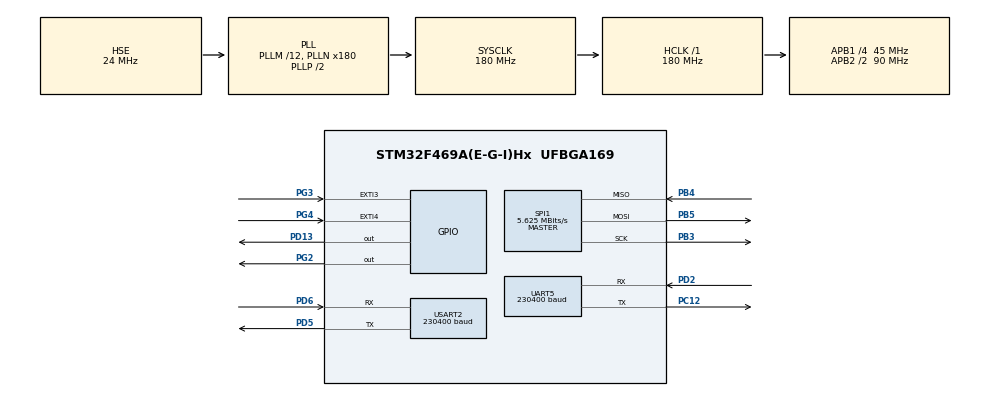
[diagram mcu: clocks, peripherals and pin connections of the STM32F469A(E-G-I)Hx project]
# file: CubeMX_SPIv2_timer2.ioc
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Dma.Request0=USART2_RX
Dma.USART2_RX.0.Direction=DMA_PERIPH_TO_MEMORY
Dma.USART2_RX.0.FIFOMode=DMA_FIFOMODE_DISABLE
Dma.USART2_RX.0.Instance=DMA1_Stream5
Dma.USART2_RX.0.MemDataAlignment=DMA_MDATAALIGN_BYTE
Dma.USART2_RX.0.MemInc=DMA_MINC_ENABLE
Dma.USART2_RX.0.Mode=DMA_CIRCULAR
Dma.USART2_RX.0.PeriphDataAlignment=DMA_PDATAALIGN_BYTE
Dma.USART2_RX.0.PeriphInc=DMA_PINC_DISABLE
Dma.USART2_RX.0.Priority=DMA_PRIORITY_LOW
Mcu.Family=STM32F4
Mcu.Name=STM32F469A(E-G-I)Hx
Mcu.Package=UFBGA169
NVIC.DMA1_Stream5_IRQn=true\:0\:0\:false\:false\:true\:false\:true\:true
NVIC.EXTI3_IRQn=true\:0\:0\:false\:false\:true\:true\:true\:true
NVIC.EXTI4_IRQn=true\:0\:0\:false\:false\:true\:true\:true\:true
NVIC.PriorityGroup=NVIC_PRIORITYGROUP_4
NVIC.TIM2_IRQn=true\:0\:0\:false\:false\:true\:true\:true\:true
NVIC.USART2_IRQn=true\:0\:0\:false\:false\:true\:true\:true\:true
PA13.Mode=Serial_Wire
PA13.Signal=SYS_JTMS-SWDIO
PA14.Mode=Serial_Wire
PA14.Signal=SYS_JTCK-SWCLK
PB3.Mode=Full_Duplex_Master
PB3.Signal=SPI1_SCK
PB4.Mode=Full_Duplex_Master
PB4.Signal=SPI1_MISO
PB5.Mode=Full_Duplex_Master
PB5.Signal=SPI1_MOSI
PC12.Mode=Asynchronous
PC12.Signal=UART5_TX
PC14/OSC32_IN.Mode=LSE-External-Oscillator
PC14/OSC32_IN.Signal=RCC_OSC32_IN
PC15/OSC32_OUT.Mode=LSE-External-Oscillator
PC15/OSC32_OUT.Signal=RCC_OSC32_OUT
PD13.Signal=GPIO_Output
PD2.Mode=Asynchronous
PD2.Signal=UART5_RX
PD5.Mode=Asynchronous
PD5.Signal=USART2_TX
PD6.Mode=Asynchronous
PD6.Signal=USART2_RX
PG2.PinState=GPIO_PIN_SET
PG2.Signal=GPIO_Output
PG3.Signal=GPXTI3
PG4.Signal=GPXTI4
PH0/OSC_IN.Mode=HSE-External-Oscillator
PH0/OSC_IN.Signal=RCC_OSC_IN
PH1/OSC_OUT.Mode=HSE-External-Oscillator
PH1/OSC_OUT.Signal=RCC_OSC_OUT
ProjectManager.HeapSize=0x800
ProjectManager.StackSize=0x800
ProjectManager.TargetToolchain=STM32CubeIDE
RCC.AHBFreq_Value=180000000
RCC.APB1CLKDivider=RCC_HCLK_DIV4
RCC.APB1Freq_Value=45000000
RCC.APB1TimFreq_Value=90000000
RCC.APB2CLKDivider=RCC_HCLK_DIV2
RCC.APB2Freq_Value=90000000
RCC.APB2TimFreq_Value=180000000
RCC.CortexFreq_Value=180000000
RCC.HCLKFreq_Value=180000000
RCC.HSE_VALUE=24000000
RCC.PLLM=12
RCC.PLLN=180
RCC.PLLSourceVirtual=RCC_PLLSOURCE_HSE
RCC.SYSCLKFreq_VALUE=180000000
RCC.SYSCLKSource=RCC_SYSCLKSOURCE_PLLCLK
RCC.USBFreq_Value=90000000
RCC.VCOOutputFreq_Value=360000000
SPI1.BaudRatePrescaler=SPI_BAUDRATEPRESCALER_16
SPI1.CalculateBaudRate=5.625 MBits/s
SPI1.Direction=SPI_DIRECTION_2LINES
SPI1.Mode=SPI_MODE_MASTER
SPI1.VirtualType=VM_MASTER
STMicroelectronics.X-CUBE-AI.7.3.0.ActivationBufferSizeList=64
STMicroelectronics.X-CUBE-AI.7.3.0.ActivationBuffers=NULL
STMicroelectronics.X-CUBE-AI.7.3.0.HeapSize=0x800
STMicroelectronics.X-CUBE-AI.7.3.0.InternalRamActivationBufferMaxSize=AI_NETWORK_DATA_ACTIVATIONS_SIZE
STMicroelectronics.X-CUBE-AI.7.3.0.LatestDirectoryUsed-288e2ee30f7139069f7e9c3ec8d494eeb7988f74bf6846b82fc9e8d1f985ffc4=C\:\\Users\\giaco\\Downloads
STMicroelectronics.X-CUBE-AI.7.3.0.MaximumNumberOfInputLayer=1
STMicroelectronics.X-CUBE-AI.7.3.0.MaximumNumberOfOutputLayer=1
STMicroelectronics.X-CUBE-AI.7.3.0.ModelActualCompression-288e2ee30f7139069f7e9c3ec8d494eeb7988f74bf6846b82fc9e8d1f985ffc4=0.0
STMicroelectronics.X-CUBE-AI.7.3.0.ModelCompression-288e2ee30f7139069f7e9c3ec8d494eeb7988f74bf6846b82fc9e8d1f985ffc4=None
STMicroelectronics.X-CUBE-AI.7.3.0.ModelFlashOccupation-288e2ee30f7139069f7e9c3ec8d494eeb7988f74bf6846b82fc9e8d1f985ffc4=324
STMicroelectronics.X-CUBE-AI.7.3.0.ModelHashList=288e2ee30f7139069f7e9c3ec8d494eeb7988f74bf6846b82fc9e8d1f985ffc4
STMicroelectronics.X-CUBE-AI.7.3.0.ModelKind-288e2ee30f7139069f7e9c3ec8d494eeb7988f74bf6846b82fc9e8d1f985ffc4=KERAS
STMicroelectronics.X-CUBE-AI.7.3.0.ModelMacc-288e2ee30f7139069f7e9c3ec8d494eeb7988f74bf6846b82fc9e8d1f985ffc4=101
STMicroelectronics.X-CUBE-AI.7.3.0.ModelName-288e2ee30f7139069f7e9c3ec8d494eeb7988f74bf6846b82fc9e8d1f985ffc4=network
STMicroelectronics.X-CUBE-AI.7.3.0.ModelNameList=network
STMicroelectronics.X-CUBE-AI.7.3.0.ModelRamOccupation-288e2ee30f7139069f7e9c3ec8d494eeb7988f74bf6846b82fc9e8d1f985ffc4=64
STMicroelectronics.X-CUBE-AI.7.3.0.ModelStructureFile-288e2ee30f7139069f7e9c3ec8d494eeb7988f74bf6846b82fc9e8d1f985ffc4=C\:\\Users\\giaco\\Downloads\\modello_asc (2).h5
STMicroelectronics.X-CUBE-AI.7.3.0.ModelType-288e2ee30f7139069f7e9c3ec8d494eeb7988f74bf6846b82fc9e8d1f985ffc4=Saved model
STMicroelectronics.X-CUBE-AI.7.3.0.ReadyForCodeGeneration=true
STMicroelectronics.X-CUBE-AI.7.3.0.StackSize=0x800
STMicroelectronics.X-CUBE-AI.7.3.0.WorkingBufferStartAddrList=0xFFFFFFFF
STMicroelectronics.X-CUBE-AI.7.3.0.XAaCUBEAaAICcArtificialOoIntelligenceJjCore=true
STMicroelectronics.X-CUBE-AI.7.3.0.copyWeightToRam-288e2ee30f7139069f7e9c3ec8d494eeb7988f74bf6846b82fc9e8d1f985ffc4=false
STMicroelectronics.X-CUBE-AI.7.3.0.customLayerConfigEnabled-288e2ee30f7139069f7e9c3ec8d494eeb7988f74bf6846b82fc9e8d1f985ffc4=false
STMicroelectronics.X-CUBE-AI.7.3.0.useInputAllocation-288e2ee30f7139069f7e9c3ec8d494eeb7988f74bf6846b82fc9e8d1f985ffc4=true
STMicroelectronics.X-CUBE-AI.7.3.0.useOutputAllocation-288e2ee30f7139069f7e9c3ec8d494eeb7988f74bf6846b82fc9e8d1f985ffc4=true
STMicroelectronics.X-CUBE-ALGOBUILD.1.3.0.LibraryCcDSPOoLibraryJjDSPOoLibrary=true
STMicroelectronics.X-CUBE-ALGOBUILD.1.3.0.LibraryCcMotionOoLibrariesJjMotionOoLibraries=true
TIM2.Period=1000-1
TIM2.Prescaler=24000-1
UART5.BaudRate=230400
UART5.VirtualMode=Asynchronous
USART2.BaudRate=230400
USART2.Parity=PARITY_NONE
USART2.VirtualMode=VM_ASYNC
VP_CRC_VS_CRC.Mode=CRC_Activate
VP_STMicroelectronics.X-CUBE-AI_VS_ArtificialOoIntelligenceJjXAaCUBEAaAI_7.3.0_7.3.0.Mode=ArtificialOoIntelligenceJjXAaCUBEAaAI
VP_STMicroelectronics.X-CUBE-ALGOBUILD_VS_DSPOoLibraryJjLibrary_1.3.0_1.3.0.Mode=DSPOoLibraryJjLibrary
VP_STMicroelectronics.X-CUBE-ALGOBUILD_VS_MotionOoLibrariesJjLibrary_1.3.0_1.3.0.Mode=MotionOoLibrariesJjLibrary
VP_TIM2_VS_ClockSourceINT.Mode=Internal
board=custom

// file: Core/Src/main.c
/* USER CODE BEGIN Header */
/**
  ******************************************************************************
  * @file           : main.c
  * @brief          : Main program body
  ******************************************************************************
  * @attention
  *
  * Copyright (c) 2023 STMicroelectronics.
  * All rights reserved.
  *
  * This software is licensed under terms that can be found in the LICENSE file
  * in the root directory of this software component.
  * If no LICENSE file comes with this software, it is provided AS-IS.
  *
  ******************************************************************************
  */
/* USER CODE END Header */
#include "main.h"
#include "crc.h"
#include "dma.h"
#include "spi.h"
#include "tim.h"
#include "usart.h"
#include "gpio.h"
#define ARM_MATH_CM4
#include "arm_math.h"
#include "network.h"
#include "network_config.h"
#include "network_data.h"
#include "network_data_params.h"
#include "ai_datatypes_defines.h"
#include "ai_platform.h"

/* Include arm_math.h mathematic functions */

/* USER CODE BEGIN PD */

#define DIM 8000
#define SAMPLES  512
#define FFT_SIZE (SAMPLES/2)
#define Fs  20000
#define passo_f  (Fs/2)/(FFT_SIZE);
#define ARM_MATH_CM4

/* USER CODE END PD */

/* USER CODE BEGIN PV */

float32_t fft_in_buf_realX [SAMPLES];
float32_t fft_in_buf_realY [SAMPLES];
float32_t fft_in_buf_realZ [SAMPLES];
float32_t tempX[FFT_SIZE];
float32_t tempY[FFT_SIZE];
float32_t tempZ[FFT_SIZE];
float32_t fft_out_buf_realX[FFT_SIZE];
float32_t fft_out_buf_realY[FFT_SIZE];
float32_t fft_out_buf_realZ[FFT_SIZE];
arm_rfft_fast_instance_f32 fft_handler;
arm_cfft_radix4_instance_f32 fft_handler_cplx;
float32_t massimo;
float32_t valMassimiX[10];
float32_t indX[10];
float32_t valMassimiY[10];
float32_t indY[10];
float32_t valMassimiZ[10];
float32_t indZ[10];
int indmax;
char  buffer_out[100];
uint8_t spiSndX[1];			//Buffer di trasmissione X MSB
uint8_t spiSndY[1];			//Buffer di trasmissione Y MSB
uint8_t spiSndZ[1];			//Buffer di trasmissione Z MSB
uint8_t spiSndXLSB[1];		//Buffer di trasmissione X LSB
uint8_t spiSndYLSB[1];		//Buffer di trasmissione Y LSB
uint8_t spiSndZLSB[1];		//Buffer di trasmissione Z LSB
uint8_t spiRcv[2];			//Buffer di ricezione LSB
uint8_t spiRcvMSB[2];		//Buffer di ricezione MSB
uint8_t spiSnd[2];			//Buffer invio comandi SPI
uint16_t buffer[50]={0};	//Buffer usato per UART5
uint16_t buffer2[300];
uint16_t buffer3[300];
uint8_t a;
float Vettx[DIM];
float Vetty[DIM];
float Vettz[DIM];
volatile uint8_t flag_elapsed = 0;
ai_buffer *ai_input;
ai_buffer *ai_output;

void uprintf(char* str){
	HAL_UART_Transmit(&huart5, (uint8_t*)str, strlen(str), 100);
}

/* USER CODE END PV */

void SystemClock_Config(void);

int main(void)
{
  /* USER CODE BEGIN 1 */

		spiSndX[0]=0x29|0x80;
	    spiSndY[0]=0x2B|0x80;
		spiSndZ[0]=0x2D|0x80;
		spiSndXLSB[0]=0x28|0x80;
		spiSndYLSB[0]=0x2A|0x80;
		spiSndZLSB[0]=0x2C|0x80;
		uint16_t x[DIM];
		uint16_t y[DIM];
		uint16_t z[DIM];
		int16_t k=0;
		float acc;
		float typ=0.488;
		int i=0;

  /* USER CODE END 1 */

  /* MCU Configuration--------------------------------------------------------*/

  /* Reset of all peripherals, Initializes the Flash interface and the Systick. */
  HAL_Init();

  /* Configure the system clock */
  SystemClock_Config();

  /* Initialize all configured peripherals */
  MX_GPIO_Init();
  MX_DMA_Init();
  MX_SPI1_Init();
  MX_USART2_UART_Init();
  MX_UART5_Init();
  MX_TIM2_Init();
  MX_CRC_Init();
  /* USER CODE BEGIN 2 */

  HAL_UART_MspInit(&huart5);
  HAL_GPIO_WritePin(GPIOG, GPIO_PIN_2, GPIO_PIN_RESET);
  spiSnd[0]=0x10;
  spiSnd[1]=0xA4;
  HAL_SPI_Transmit(&hspi1, spiSnd, 2, 100);
  HAL_GPIO_WritePin(GPIOG, GPIO_PIN_2, GPIO_PIN_SET);
  HAL_TIM_Base_Start(&htim2);

  /* USER CODE END 2 */

  /* Infinite loop */
  /* USER CODE BEGIN WHILE */
  while (i<DIM)
   {
 	 if((flag_elapsed=1))											//La funzione di interrupt abilita il flag per ogni n conteggi selezionati
 	 {
 		 flag_elapsed=0;										//flag=0 in modo che non rientro ma aspetto che sia l'interrupt ad alzarlo

 		//Asse X
 		HAL_GPIO_WritePin(GPIOG, GPIO_PIN_2, GPIO_PIN_RESET);	//Abilito SPI1
 		HAL_SPI_Transmit(&hspi1, spiSndX, 1, 100);				//Trasmetto Indirizzo dove leggere istruzione
 		HAL_SPI_Receive(&hspi1, &spiRcv[0], 1, 100);			//Ricevo Risultato di misura MSB (8bit)
 		HAL_GPIO_WritePin(GPIOG, GPIO_PIN_2, GPIO_PIN_SET);		//Chiudo la comunicazione SPI1
 		HAL_GPIO_WritePin(GPIOG, GPIO_PIN_2, GPIO_PIN_RESET);	//Abilito la comunicazione SPI1 (NON POSSO FARE PIU OPERAZIONI CON UN'UNICA ATTIVAZIONE)
 		HAL_SPI_Transmit(&hspi1, spiSndXLSB, 1, 100);			//Trasmetto Indirizzo dove leggere istruzione
 		HAL_SPI_Receive(&hspi1, &spiRcv[1], 1, 100);			//Ricevo Risultato di misura LSB (8bit)
 		x[i]=((int16_t)spiRcv[0] << 8) | spiRcv[1];				//Unisco MSB e LSB attraverso un'operazione di shift su 16bit
 		HAL_GPIO_WritePin(GPIOG, GPIO_PIN_2, GPIO_PIN_SET);		//Chiudo la comunicazione SPI1
 		k=(int16_t)x[i];										//Casting da uint a int (abilitazione del segno, complemento)
 		acc=(k*typ)/1000;										//Da datasheet, il dato letto, lo converto in scala g attraverso questo calcolo
 		Vettx[i]=acc;											//Aggiungo la misura al vettore delle letture
 		//HAL_UART_Transmit(&huart5,(uint8_t*)"\n \r", 3, HAL_MAX_DELAY);			//Vado da capo

 		spiRcv[0]=0;
 		spiRcv[1]=0;
 		//Asse Y
 		HAL_GPIO_WritePin(GPIOG, GPIO_PIN_2, GPIO_PIN_RESET);	//Abilito SPI1
 		HAL_SPI_Transmit(&hspi1, spiSndY, 1, 100);				//Trasmetto Indirizzo dove leggere istruzione
 		HAL_SPI_Receive(&hspi1, &spiRcv[0], 1, 100);			//Ricevo Risultato di misura MSB (8bit)
 		HAL_GPIO_WritePin(GPIOG, GPIO_PIN_2, GPIO_PIN_SET);		//Chiudo la comunicazione SPI1
 		HAL_GPIO_WritePin(GPIOG, GPIO_PIN_2, GPIO_PIN_RESET);	//Abilito la comunicazione SPI1 (NON POSSO FARE PIU OPERAZIONI CON UN'UNICA ATTIVAZIONE)
 		HAL_SPI_Transmit(&hspi1, spiSndYLSB, 1, 100);			//Trasmetto Indirizzo dove leggere istruzione
 		HAL_SPI_Receive(&hspi1, &spiRcv[1], 1, 100);			//Ricevo Risultato di misura LSB (8bit)
 		y[i]=((int16_t)spiRcv[0] << 8) | spiRcv[1];				//Unisco MSB e LSB attraverso un'operazione di shift su 16bit
 		HAL_GPIO_WritePin(GPIOG, GPIO_PIN_2, GPIO_PIN_SET);		//Chiudo la comunicazione SPI1
 		k=(int16_t)y[i];										//Casting da uint a int (abilitazione del segno, complemento)
 		acc=(k*typ)/1000;										//Da datasheet, il dato letto, lo converto in scala g attraverso questo calcolo
 		Vetty[i]=acc;											//Aggiungo la misura al vettore delle letture
 		//HAL_UART_Transmit(&huart5,(uint8_t*)"\n \r", 3, HAL_MAX_DELAY);			//Vado da capo

 		spiRcv[0]=0;
 		spiRcv[1]=0;
 		//Asse Z												//Si ripetono gli stessi commenti
 		HAL_GPIO_WritePin(GPIOG, GPIO_PIN_2, GPIO_PIN_RESET);
 		HAL_SPI_Transmit(&hspi1, spiSndZ, 1, 100);
 		HAL_SPI_Receive(&hspi1, &spiRcv[0], 1, 100);
 		HAL_GPIO_WritePin(GPIOG, GPIO_PIN_2, GPIO_PIN_SET);
 		HAL_GPIO_WritePin(GPIOG, GPIO_PIN_2, GPIO_PIN_RESET);
 		HAL_SPI_Transmit(&hspi1, spiSndZLSB, 1, 100);
 		HAL_SPI_Receive(&hspi1, &spiRcv[1], 1, 100);
 		z[i]=((int16_t)spiRcv[0] << 8) | spiRcv[1];
 		HAL_GPIO_WritePin(GPIOG, GPIO_PIN_2, GPIO_PIN_SET);
 		k=(int16_t)z[i];
 		acc=(k*typ)/1000;
 		Vettz[i]=acc;
 		//HAL_UART_Transmit(&huart5,(uint8_t*)"\n \r", 3, HAL_MAX_DELAY);			//Vado da capo

 	    i=i+1;															//Incremento la i per spostare le misure nel buffer
 	  }
   }

  /* USER CODE END WHILE */

  /* USER CODE BEGIN 3 */

  HAL_TIM_Base_Stop(&htim2);											//Completate le n=DIM misure, fermo il timer
     HAL_UART_Transmit(&huart5,(uint8_t*)"\n \r", 3, HAL_MAX_DELAY);		//Trasmetto uno spazio per ordine

     //Scrivo le misure relative all'asse X
     /*uprintf("Misure Asse X \n \r");
     for(int j=0; j<DIM; j++){
  	   sprintf(buffer2,"%f \n \r",Vettx[j]); // @suppress("Float formatting support")? No, ho aggiunto manualmente la funzione nel Linker
  	   uprintf(buffer2);
     }

     //Scrivo le misure relative all'asse Y
     uprintf("Misure Asse Y \n \r");
     for(int j=0; j<DIM; j++){
  	  sprintf(buffer2,"%f \n \r",Vetty[j	]); // @suppress("Float formatting support")? No, ho aggiunto manualmente la funzione nel Linker
  	  uprintf(buffer2);
     }

     //Scrivo le misure relative all'asse Z
     uprintf("Misure Asse Z \n \r");
     for(int j=0; j<DIM; j++){
  	  sprintf(buffer2,"%f \n \r",Vettz[j]); // @suppress("Float formatting support")? No, ho aggiunto manualmente la funzione nel Linker
  	  uprintf(buffer2);
     }*/

     //FFT reale

        	  /*Initialize the RFFT*/
        	  arm_rfft_fast_init_f32(&fft_handler, FFT_SIZE);
        	  /* Initialize the CFFT/CIFFT module, intFlag = 0, doBitReverse = 1 */
        	  arm_cfft_radix4_init_f32(&fft_handler_cplx, FFT_SIZE, 0, 1);

        	  //Asse X

        	  for (int j = 0; j < FFT_SIZE; j++) {
        		  		fft_in_buf_realX[j]=((float32_t)((float32_t)Vettx[j]));
        		  		}
        	  arm_rfft_fast_f32(&fft_handler, fft_in_buf_realX, fft_out_buf_realX, 0);
        	  for (int j = 0; j < SAMPLES; j += 2) {
        		  		  			fft_in_buf_realX[j]=(float32_t)((float32_t)Vettx[j/2]);
        		  		  		    //parte immaginaria
        		  		  			fft_in_buf_realX[(j + 1)] = 0;
          	 	 	 	 	 }
          arm_cfft_f32(&fft_handler, fft_in_buf_realX, 0, 1);
          arm_cmplx_mag_f32(fft_in_buf_realX, fft_out_buf_realX, FFT_SIZE);

          //Stampa sulla com
          for(int j = 0; j < FFT_SIZE;j++){

         	  		 //sprintf(buffer3,"%f \n \r",fft_out_buf_realX[j]);
         	  		 //uprintfX(buffer3);
          }

          //Asse Y

          for (int j = 0; j < FFT_SIZE; j++) {
             		  		fft_in_buf_realY[j]=((float32_t)((float32_t)Vetty[j]));
             		  		}
             	  arm_rfft_fast_f32(&fft_handler, fft_in_buf_realX, fft_out_buf_realY, 0);
             	  for (int j = 0; j < SAMPLES; j += 2) {
             		  		  			fft_in_buf_realY[j]=(float32_t)((float32_t)Vetty[j/2]);
             		  		  		    //parte immaginaria
             		  		  			fft_in_buf_realY[(j + 1)] = 0;
               	 	 	 	 	 }
               arm_cfft_f32(&fft_handler, fft_in_buf_realY, 0, 1);
               arm_cmplx_mag_f32(fft_in_buf_realY, fft_out_buf_realY, FFT_SIZE);

           //Asse Z

            for (int j = 0; j < FFT_SIZE; j++) {
                  		  		fft_in_buf_realZ[j]=((float32_t)((float32_t)Vettz[j]));
                  		  		}
                  	  arm_rfft_fast_f32(&fft_handler, fft_in_buf_realZ, fft_out_buf_realZ, 0);
                  	  for (int j = 0; j < SAMPLES; j += 2) {
                  		  		  			fft_in_buf_realZ[j]=(float32_t)((float32_t)Vettz[j/2]);
                  		  		  		    //parte immaginaria
                  		  		  			fft_in_buf_realZ[(j + 1)] = 0;
                    	 	 	 	 	 }
                    arm_cfft_f32(&fft_handler, fft_in_buf_realZ, 0, 1);
                    arm_cmplx_mag_f32(fft_in_buf_realZ, fft_out_buf_realZ, FFT_SIZE);

          //Prendo le 10 armoniche a magnitude maggiore di X

          for(int j = 0; j<FFT_SIZE;j++){
         	 tempX[j] = (float32_t)fft_out_buf_realX[j];
          }

          for(int j = 0; j<5;j++){

         	 arm_max_f32(tempX, FFT_SIZE, &massimo, &indmax);
         	 valMassimiX[j] = massimo;
         	 indX[j] = indmax*passo_f;
         	 tempX[indmax] = 0;
         	 sprintf(buffer3,"%f \n \r",valMassimiX[j]);
         	 uprintf(buffer3);
         	 sprintf(buffer2,"%f \n \r",indX[j]);
         	 uprintf(buffer2);
          }

          //Prendo le 10 armoniche a magnitude maggiore di Y

          for(int j = 0; j<FFT_SIZE;j++){
              	 tempY[j] = (float32_t)fft_out_buf_realY[j];
               }

               for(int j = 0; j<10;j++){

              	 arm_max_f32(tempY, FFT_SIZE, &massimo, &indmax);
              	 valMassimiY[j] = massimo;
              	 indY[j] = indmax*passo_f;
              	 tempY[indmax] = 0;
              	 sprintf(buffer3,"%f \n \r",valMassimiY[j]);
              	 //uprintf(buffer3);
              	 sprintf(buffer2,"%f \n \r",indY[j]);
              	 //uprintf(buffer2);
               }

            //Prendo le 10 armoniche a magnitude maggiore di Z

            for(int j = 0; j<FFT_SIZE;j++){
                   	 tempZ[j] = (float32_t)fft_out_buf_realZ[j];
                    }

                    for(int j = 0; j<10;j++){

                   	 arm_max_f32(tempZ, FFT_SIZE, &massimo, &indmax);
                   	 valMassimiZ[j] = massimo;
                   	 indZ[j] = indmax*passo_f;
                   	 tempZ[indmax] = 0;
                   	 sprintf(buffer3,"%f \n \r",valMassimiZ[j]);
                   	 //uprintf(buffer3);
                   	 sprintf(buffer2,"%f \n \r",indZ[j]);
                   	 //uprintf(buffer2);
                    }

  //Definizione parametri per il NN

  AI_ALIGNED(32) ai_u32 activations[AI_NETWORK_DATA_ACTIVATIONS_SIZE];

  //Ricavo i pesi e i bias dal modello

  ai_network_params ai_params = {
		  AI_NETWORK_DATA_WEIGHTS(ai_network_data_weights_get()),
		  AI_NETWORK_DATA_ACTIVATIONS(activations)
  };

  //Creo i vettori buffer per raccogliere gli input e gli output del mio NN

  AI_ALIGNED(32) ai_i8 input_data[AI_NETWORK_IN_1_SIZE_BYTES];
  AI_ALIGNED(32) ai_i8 output_data[AI_NETWORK_OUT_1_SIZE_BYTES];

  //Puntatore al modello

  ai_handle  network = AI_HANDLE_NULL;

  //Creo un'istanza del NN

  ai_error ai_err;
  ai_err = ai_network_create(&network,AI_NETWORK_DATA_CONFIG);

  //Verifico che il NN sia stato istanziato ed inizializzato correttamente

  if(ai_err.type != AI_ERROR_NONE){
	  sprintf(buffer2,"Errore creazione NN");
  	  uprintf(buffer2);
  }

  //Verifico che il NN sia inizializzato correttamente

   if(!ai_network_init(network, &ai_params)){

	   sprintf(buffer2,"Errore inizializzazione NN");
	   uprintf(buffer2);
   }

   //

   ai_input = ai_network_inputs_get(network, NULL);
   ai_output = ai_network_outputs_get(network, NULL);

   ai_input->data = AI_HANDLE_PTR(input_data);
   ai_output->data = AI_HANDLE_PTR(output_data);

   //Riempio il buffer di input

   for(int j=0;j<AI_NETWORK_IN_1_SIZE;j++){

	  ((ai_float*)input_data)[j] = (ai_float)5;
	  sprintf(buffer2,"%f \n \r",((ai_float*)input_data)[j]);
	  uprintf(buffer2);
   }

   ai_i32 inference = ai_network_run(network,ai_input,ai_output);

   if(inference != 1){

   	  	  sprintf(buffer2,"Errore nell'eseguire l'inferenza");
   	  	  uprintf(buffer2);
   }

   sprintf(buffer2,"%f \n \r",((ai_float*)output_data)[0]);
   uprintf(buffer2);

  /* USER CODE END 3 */
}

void SystemClock_Config(void)
{
  RCC_OscInitTypeDef RCC_OscInitStruct = {0};
  RCC_ClkInitTypeDef RCC_ClkInitStruct = {0};

  /** Configure the main internal regulator output voltage
  */
  __HAL_RCC_PWR_CLK_ENABLE();
  __HAL_PWR_VOLTAGESCALING_CONFIG(PWR_REGULATOR_VOLTAGE_SCALE1);

  /** Initializes the RCC Oscillators according to the specified parameters
  * in the RCC_OscInitTypeDef structure.
  */
  RCC_OscInitStruct.OscillatorType = RCC_OSCILLATORTYPE_HSE;
  RCC_OscInitStruct.HSEState = RCC_HSE_ON;
  RCC_OscInitStruct.PLL.PLLState = RCC_PLL_ON;
  RCC_OscInitStruct.PLL.PLLSource = RCC_PLLSOURCE_HSE;
  RCC_OscInitStruct.PLL.PLLM = 12;
  RCC_OscInitStruct.PLL.PLLN = 180;
  RCC_OscInitStruct.PLL.PLLP = RCC_PLLP_DIV2;
  RCC_OscInitStruct.PLL.PLLQ = 4;
  RCC_OscInitStruct.PLL.PLLR = 2;
  if (HAL_RCC_OscConfig(&RCC_OscInitStruct) != HAL_OK)
  {
    Error_Handler();
  }

  /** Activate the Over-Drive mode
  */
  if (HAL_PWREx_EnableOverDrive() != HAL_OK)
  {
    Error_Handler();
  }

  /** Initializes the CPU, AHB and APB buses clocks
  */
  RCC_ClkInitStruct.ClockType = RCC_CLOCKTYPE_HCLK|RCC_CLOCKTYPE_SYSCLK
                              |RCC_CLOCKTYPE_PCLK1|RCC_CLOCKTYPE_PCLK2;
  RCC_ClkInitStruct.SYSCLKSource = RCC_SYSCLKSOURCE_PLLCLK;
  RCC_ClkInitStruct.AHBCLKDivider = RCC_SYSCLK_DIV1;
  RCC_ClkInitStruct.APB1CLKDivider = RCC_HCLK_DIV4;
  RCC_ClkInitStruct.APB2CLKDivider = RCC_HCLK_DIV2;

  if (HAL_RCC_ClockConfig(&RCC_ClkInitStruct, FLASH_LATENCY_5) != HAL_OK)
  {
    Error_Handler();
  }
}

void Error_Handler(void)
{
  __disable_irq();
  while (1)
  {
  }
}
